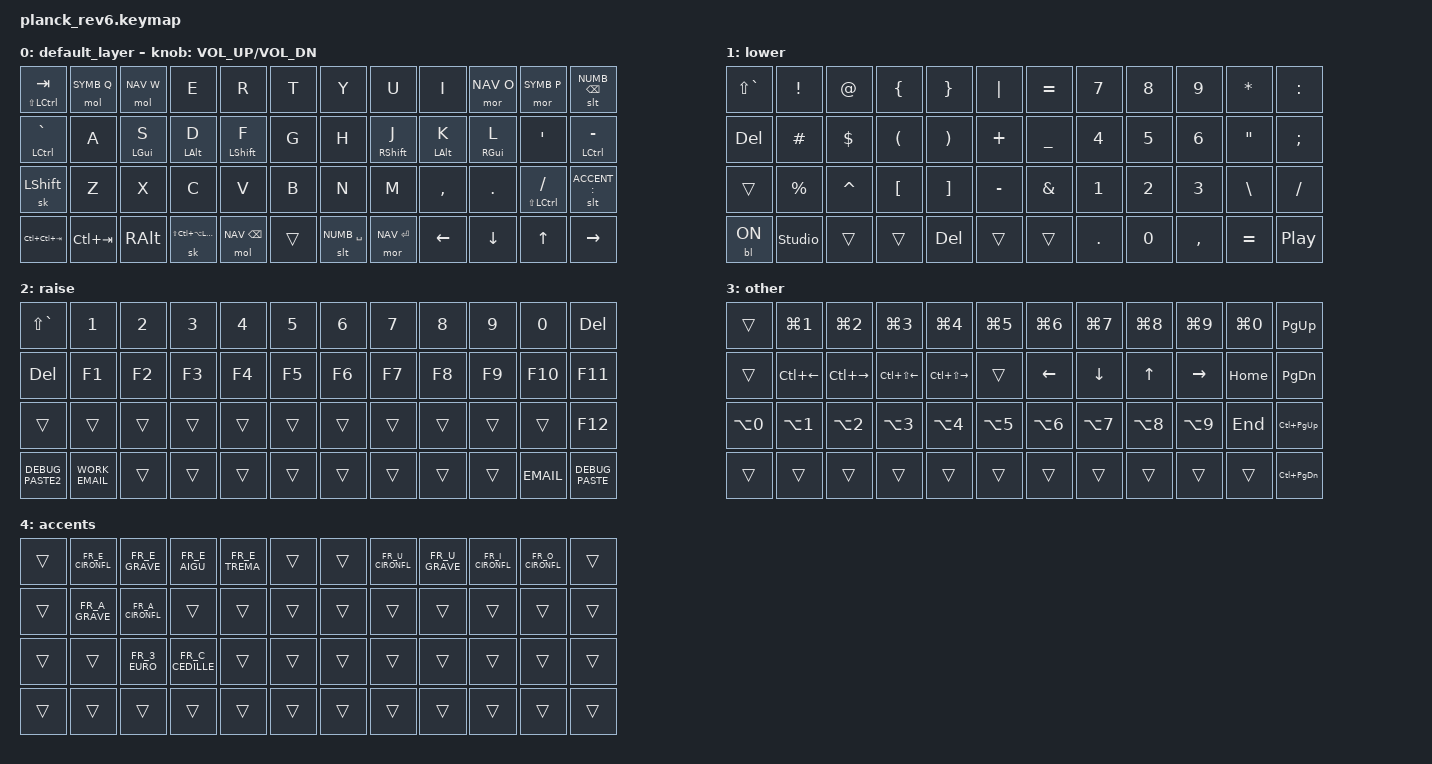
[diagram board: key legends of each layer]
/*
 * Copyright (c) 2020 The ZMK Contributors
 *
 * SPDX-License-Identifier: MIT
 */

#include <behaviors.dtsi>
#include <dt-bindings/zmk/backlight.h>
#include <dt-bindings/zmk/keys.h>

#include "includes/local.h"
#include "includes/4x12.h"

/* Uncomment this block if using an encoder */
//&encoder {
//    status = "okay";
//};

#define HYPR LS(LC(LA(LGUI)))
#define QUICK_TAP_MS 175
#define IDLE_MS 150
#define TAPPING_TERM_MS 200
#define SYMB 1
#define NUMB 2
#define NAV 3
#define ACCENT 4

/ {
    behaviors {
        #include "includes/behaviors.h"
        #include "includes/fr.h"
    };

    combos {
        #include "includes/combos.h"
    };

    macros {
        #include "includes/macros.h"
    };

    keymap {
        compatible = "zmk,keymap";

        default_layer { // 0
            bindings = <
//    ┌───────────────────┬────────────┬─────────────┬─────────────┬──────────────┬─────┬──────────────┬─────────────┬─────────────┬─────────────┬─────────────────┬───────────────┐
//    │ mt lsft(lctl) tab │ mol SYMB Q │  mol NAV W  │      E      │      R       │  T  │      Y       │      U      │      I      │  mor NAV O  │   mor SYMB P    │ slt NUMB bspc │
//    ├───────────────────┼────────────┼─────────────┼─────────────┼──────────────┼─────┼──────────────┼─────────────┼─────────────┼─────────────┼─────────────────┼───────────────┤
//    │     mt lctl `     │     A      │ &hml lgui S │ &hml lalt D │ &hml lsft F  │  G  │      H       │ &hmr rsft J │ &hmr lalt K │ &hmr rgui L │        '        │   mt lctl -   │
//    ├───────────────────┼────────────┼─────────────┼─────────────┼──────────────┼─────┼──────────────┼─────────────┼─────────────┼─────────────┼─────────────────┼───────────────┤
//    │     &sk lsft      │     Z      │      X      │      C      │      V       │  B  │      N       │      M      │      ,      │      .      │ mt lsft(lctl) / │ slt ACCENT :  │
//    ├───────────────────┼────────────┼─────────────┼─────────────┼──────────────┼─────┼──────────────┼─────────────┼─────────────┼─────────────┼─────────────────┼───────────────┤
//    │  lctl(lctl(tab))  │ lctl(tab)  │    ralt     │  &sk HYPR   │ mol NAV bspc │     │ slt NUMB spc │ mor NAV ent │    left     │    down     │       up        │     rght      │
//    └───────────────────┴────────────┴─────────────┴─────────────┴──────────────┴─────┴──────────────┴─────────────┴─────────────┴─────────────┴─────────────────┴───────────────┘
  &mt LS(LCTRL) TAB   &mol SYMB Q   &mol NAV W    &kp E         &kp R           &kp T    &kp Y             &kp U            &kp I         &mor NAV O    &mor SYMB P           &slt NUMB BSPC
  &mt LCTRL GRAVE     &kp A         &hml LGUI S   &hml LALT D   &hml LSHFT F    &kp G    &kp H             &hmr RSHFT J     &hmr LALT K   &hmr RGUI L   &kp SQT               &mt LCTRL MINUS
  &sk LSHFT           &kp Z         &kp X         &kp C         &kp V           &kp B    &kp N             &kp M            &kp COMMA     &kp DOT       &mt LS(LCTRL) SLASH   &slt ACCENT COLON
  &kp LC(LC(TAB))     &kp LC(TAB)   &kp RALT      &sk HYPR      &mol NAV BSPC   &trans   &slt NUMB SPACE   &mor NAV ENTER   &kp LEFT      &kp DOWN      &kp UP                &kp RIGHT
            >;

            sensor-bindings = <&inc_dec_kp C_VOL_UP C_VOL_DN>;
        };

        lower { // 1
            bindings = <
//    ┌─────────┬────────────────┬─────┬─────┬─────┬─────┬─────┬───┬───┬───┬───┬──────┐
//    │ lsft(`) │       !        │  @  │  {  │  }  │  |  │  =  │ 7 │ 8 │ 9 │ * │  :   │
//    ├─────────┼────────────────┼─────┼─────┼─────┼─────┼─────┼───┼───┼───┼───┼──────┤
//    │   del   │       #        │  $  │  (  │  )  │  +  │  _  │ 4 │ 5 │ 6 │ " │  ;   │
//    ├─────────┼────────────────┼─────┼─────┼─────┼─────┼─────┼───┼───┼───┼───┼──────┤
//    │         │       %        │  ^  │  [  │  ]  │  -  │  &  │ 1 │ 2 │ 3 │ \ │  /   │
//    ├─────────┼────────────────┼─────┼─────┼─────┼─────┼─────┼───┼───┼───┼───┼──────┤
//    │ bl_ on  │ &studio_unlock │     │     │ del │     │     │ . │ 0 │ , │ = │ play │
//    └─────────┴────────────────┴─────┴─────┴─────┴─────┴─────┴───┴───┴───┴───┴──────┘
  &kp LS(GRAVE)   &kp EXCL         &kp AT       &kp LBRC   &kp RBRC   &kp PIPE    &kp EQUAL   &kp N7    &kp N8   &kp N9      &kp ASTRK   &kp COLON
  &kp DEL         &kp HASH         &kp DOLLAR   &kp LPAR   &kp RPAR   &kp PLUS    &kp UNDER   &kp N4    &kp N5   &kp N6      &kp DQT     &kp SEMI
  &trans          &kp PRCNT        &kp CARET    &kp LBKT   &kp RBKT   &kp MINUS   &kp AMPS    &kp N1    &kp N2   &kp N3      &kp BSLH    &kp SLASH
  &bl BL_ON       &studio_unlock   &trans       &trans     &kp DEL    &trans      &trans      &kp DOT   &kp N0   &kp COMMA   &kp EQUAL   &kp C_PP
            >;
        };

        raise { // 2
            bindings = <
//    ┌───────────────┬─────────────┬─────┬─────┬─────┬─────┬─────┬─────┬─────┬─────┬────────┬──────────────┐
//    │    lsft(`)    │      1      │  2  │  3  │  4  │  5  │  6  │  7  │  8  │  9  │   0    │     del      │
//    ├───────────────┼─────────────┼─────┼─────┼─────┼─────┼─────┼─────┼─────┼─────┼────────┼──────────────┤
//    │      del      │     f1      │ f2  │ f3  │ f4  │ f5  │ f6  │ f7  │ f8  │ f9  │  f10   │     f11      │
//    ├───────────────┼─────────────┼─────┼─────┼─────┼─────┼─────┼─────┼─────┼─────┼────────┼──────────────┤
//    │               │             │     │     │     │     │     │     │     │     │        │     f12      │
//    ├───────────────┼─────────────┼─────┼─────┼─────┼─────┼─────┼─────┼─────┼─────┼────────┼──────────────┤
//    │ &DEBUG_PASTE2 │ &WORK_EMAIL │     │     │     │     │     │     │     │     │ &EMAIL │ &DEBUG_PASTE │
//    └───────────────┴─────────────┴─────┴─────┴─────┴─────┴─────┴─────┴─────┴─────┴────────┴──────────────┘
  &kp LS(GRAVE)   &kp N1        &kp N2   &kp N3   &kp N4   &kp N5   &kp N6   &kp N7   &kp N8   &kp N9   &kp N0    &kp DEL
  &kp DEL         &kp F1        &kp F2   &kp F3   &kp F4   &kp F5   &kp F6   &kp F7   &kp F8   &kp F9   &kp F10   &kp F11
  &trans          &trans        &trans   &trans   &trans   &trans   &trans   &trans   &trans   &trans   &trans    &kp F12
  &DEBUG_PASTE2   &WORK_EMAIL   &trans   &trans   &trans   &trans   &trans   &trans   &trans   &trans   &EMAIL    &DEBUG_PASTE
            >;
        };
        other { // 3
            bindings = <
//    ┌─────────┬────────────┬────────────┬──────────────────┬──────────────────┬─────────┬─────────┬─────────┬─────────┬─────────┬─────────┬────────────┐
//    │         │  lgui(1)   │  lgui(2)   │     lgui(3)      │     lgui(4)      │ lgui(5) │ lgui(6) │ lgui(7) │ lgui(8) │ lgui(9) │ lgui(0) │    pgup    │
//    ├─────────┼────────────┼────────────┼──────────────────┼──────────────────┼─────────┼─────────┼─────────┼─────────┼─────────┼─────────┼────────────┤
//    │         │ lctl(left) │ lctl(rght) │ lctl(lsft(left)) │ lctl(lsft(rght)) │         │  left   │  down   │   up    │  rght   │  home   │    pgdn    │
//    ├─────────┼────────────┼────────────┼──────────────────┼──────────────────┼─────────┼─────────┼─────────┼─────────┼─────────┼─────────┼────────────┤
//    │ lalt(0) │  lalt(1)   │  lalt(2)   │     lalt(3)      │     lalt(4)      │ lalt(5) │ lalt(6) │ lalt(7) │ lalt(8) │ lalt(9) │   end   │ lctl(pgup) │
//    ├─────────┼────────────┼────────────┼──────────────────┼──────────────────┼─────────┼─────────┼─────────┼─────────┼─────────┼─────────┼────────────┤
//    │         │            │            │                  │                  │         │         │         │         │         │         │ lctl(pgdn) │
//    └─────────┴────────────┴────────────┴──────────────────┴──────────────────┴─────────┴─────────┴─────────┴─────────┴─────────┴─────────┴────────────┘
  &trans       &kp LG(N1)     &kp LG(N2)      &kp LG(N3)         &kp LG(N4)          &kp LG(N5)   &kp LG(N6)   &kp LG(N7)   &kp LG(N8)   &kp LG(N9)   &kp LG(N0)   &kp PG_UP
  &trans       &kp LC(LEFT)   &kp LC(RIGHT)   &kp LC(LS(LEFT))   &kp LC(LS(RIGHT))   &trans       &kp LEFT     &kp DOWN     &kp UP       &kp RIGHT    &kp HOME     &kp PG_DN
  &kp LA(N0)   &kp LA(N1)     &kp LA(N2)      &kp LA(N3)         &kp LA(N4)          &kp LA(N5)   &kp LA(N6)   &kp LA(N7)   &kp LA(N8)   &kp LA(N9)   &kp END      &kp LC(PG_UP)
  &trans       &trans         &trans          &trans             &trans              &trans       &trans       &trans       &trans       &trans       &trans       &kp LC(PG_DN)
            >;
        };

        accents { // 4
            bindings = <
//    ┌─────┬───────────────┬───────────────┬───────────────┬─────────────┬─────┬─────┬───────────────┬─────────┬───────────────┬───────────────┬─────┐
//    │     │ &FR_E_CIRONFL │    &FR_E_`    │  &FR_E_AIGU   │ &FR_E_TREMA │     │     │ &FR_U_CIRONFL │ &FR_U_` │ &FR_I_CIRONFL │ &FR_O_CIRONFL │     │
//    ├─────┼───────────────┼───────────────┼───────────────┼─────────────┼─────┼─────┼───────────────┼─────────┼───────────────┼───────────────┼─────┤
//    │     │    &FR_A_`    │ &FR_A_CIRONFL │               │             │     │     │               │         │               │               │     │
//    ├─────┼───────────────┼───────────────┼───────────────┼─────────────┼─────┼─────┼───────────────┼─────────┼───────────────┼───────────────┼─────┤
//    │     │               │  &FR_3_EURO   │ &FR_C_CEDILLE │             │     │     │               │         │               │               │     │
//    ├─────┼───────────────┼───────────────┼───────────────┼─────────────┼─────┼─────┼───────────────┼─────────┼───────────────┼───────────────┼─────┤
//    │     │               │               │               │             │     │     │               │         │               │               │     │
//    └─────┴───────────────┴───────────────┴───────────────┴─────────────┴─────┴─────┴───────────────┴─────────┴───────────────┴───────────────┴─────┘
  &trans   &FR_E_CIRONFL   &FR_E_GRAVE     &FR_E_AIGU      &FR_E_TREMA   &trans   &trans   &FR_U_CIRONFL   &FR_U_GRAVE   &FR_I_CIRONFL   &FR_O_CIRONFL   &trans
  &trans   &FR_A_GRAVE     &FR_A_CIRONFL   &trans          &trans        &trans   &trans   &trans          &trans        &trans          &trans          &trans
  &trans   &trans          &FR_3_EURO      &FR_C_CEDILLE   &trans        &trans   &trans   &trans          &trans        &trans          &trans          &trans
  &trans   &trans          &trans          &trans          &trans        &trans   &trans   &trans          &trans        &trans          &trans          &trans
            >;
      };

    };
};
